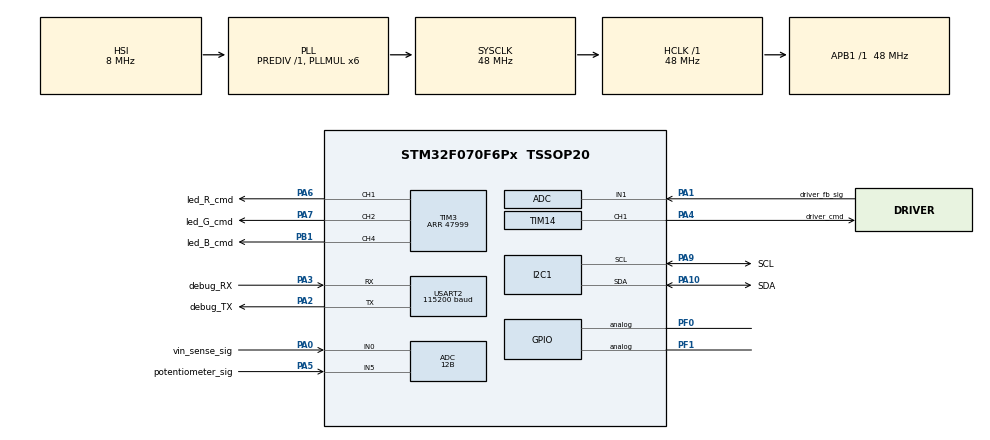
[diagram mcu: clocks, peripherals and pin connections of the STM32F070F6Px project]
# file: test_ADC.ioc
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ADC.ClockPrescaler=ADC_CLOCK_ASYNC_DIV1
ADC.ContinuousConvMode=DISABLE
ADC.DMAContinuousRequests=ENABLE
ADC.DataAlign=ADC_DATAALIGN_RIGHT
ADC.DiscontinuousConvMode=DISABLE
ADC.EOCSelection=ADC_EOC_SEQ_CONV
ADC.EnableAnalogWatchDog=false
ADC.ExternalTrigConv=ADC_EXTERNALTRIGCONV_T1_TRGO
ADC.ExternalTrigConvEdge=ADC_EXTERNALTRIGCONVEDGE_RISING
ADC.LowPowerAutoPowerOff=DISABLE
ADC.LowPowerAutoWait=DISABLE
ADC.Overrun=ADC_OVR_DATA_PRESERVED
ADC.Resolution=ADC_RESOLUTION_12B
ADC.SamplingTime=ADC_SAMPLETIME_7CYCLES_5
ADC.ScanConvMode=ADC_SCAN_DIRECTION_FORWARD
Dma.ADC.1.Direction=DMA_PERIPH_TO_MEMORY
Dma.ADC.1.Instance=DMA1_Channel1
Dma.ADC.1.MemDataAlignment=DMA_MDATAALIGN_HALFWORD
Dma.ADC.1.MemInc=DMA_MINC_ENABLE
Dma.ADC.1.Mode=DMA_NORMAL
Dma.ADC.1.PeriphDataAlignment=DMA_PDATAALIGN_HALFWORD
Dma.ADC.1.PeriphInc=DMA_PINC_DISABLE
Dma.ADC.1.Priority=DMA_PRIORITY_LOW
Dma.Request0=USART2_TX
Dma.Request1=ADC
Dma.USART2_TX.0.Direction=DMA_MEMORY_TO_PERIPH
Dma.USART2_TX.0.Instance=DMA1_Channel4
Dma.USART2_TX.0.MemDataAlignment=DMA_MDATAALIGN_BYTE
Dma.USART2_TX.0.MemInc=DMA_MINC_ENABLE
Dma.USART2_TX.0.Mode=DMA_NORMAL
Dma.USART2_TX.0.PeriphDataAlignment=DMA_PDATAALIGN_BYTE
Dma.USART2_TX.0.PeriphInc=DMA_PINC_DISABLE
Dma.USART2_TX.0.Priority=DMA_PRIORITY_LOW
I2C1.Timing=0x2000090E
Mcu.Family=STM32F0
Mcu.Name=STM32F070F6Px
Mcu.Package=TSSOP20
NVIC.DMA1_Channel1_IRQn=true\:0\:0\:false\:false\:true
NVIC.DMA1_Channel4_5_IRQn=true\:0\:0\:false\:false\:true
PA0.GPIO_Label=vin_sense_sig
PA0.Mode=IN0
PA0.Signal=ADC_IN0
PA1.GPIO_Label=driver_fb_sig
PA1.Mode=IN1
PA1.Signal=ADC_IN1
PA10.GPIO_Label=SDA
PA10.Mode=I2C
PA10.Signal=I2C1_SDA
PA13.Mode=Serial-WireDebug
PA13.Signal=SYS_SWDIO
PA14.Mode=Serial-WireDebug
PA14.Signal=SYS_SWCLK
PA2.GPIO_Label=debug_TX
PA2.GPIO_PuPd=GPIO_PULLUP
PA2.Mode=Asynchronous
PA2.Signal=USART2_TX
PA3.GPIO_Label=debug_RX
PA3.Mode=Asynchronous
PA3.Signal=USART2_RX
PA4.GPIO_Label=driver_cmd
PA4.Signal=S_TIM14_CH1
PA5.GPIO_Label=potentiometer_sig
PA5.Mode=IN5
PA5.Signal=ADC_IN5
PA6.GPIO_Label=led_R_cmd
PA6.GPIO_Speed=GPIO_SPEED_FREQ_LOW
PA6.Signal=S_TIM3_CH1
PA7.GPIO_Label=led_G_cmd
PA7.GPIO_Speed=GPIO_SPEED_FREQ_LOW
PA7.Signal=S_TIM3_CH2
PA9.GPIO_Label=SCL
PA9.Mode=I2C
PA9.Signal=I2C1_SCL
PB1.GPIO_Label=led_B_cmd
PB1.Signal=S_TIM3_CH4
PF0-OSC_IN.Signal=GPIO_Analog
PF1-OSC_OUT.Signal=GPIO_Analog
ProjectManager.HeapSize=0x200
ProjectManager.StackSize=0x400
ProjectManager.TargetToolchain=SW4STM32
RCC.AHBFreq_Value=48000000
RCC.APB1Freq_Value=48000000
RCC.APB1TimFreq_Value=48000000
RCC.HCLKFreq_Value=48000000
RCC.PLLMUL=RCC_PLL_MUL6
RCC.SYSCLKFreq_VALUE=48000000
RCC.SYSCLKSource=RCC_SYSCLKSOURCE_PLLCLK
SH.S_TIM14_CH1.0=TIM14_CH1,PWM Generation1 CH1
SH.S_TIM3_CH1.0=TIM3_CH1,PWM Generation1 CH1
SH.S_TIM3_CH2.0=TIM3_CH2,PWM Generation2 CH2
SH.S_TIM3_CH4.0=TIM3_CH4,PWM Generation4 CH4
TIM1.Period=4799
TIM1.TIM_MasterOutputTrigger=TIM_TRGO_UPDATE
TIM1.TIM_MasterSlaveMode=TIM_MASTERSLAVEMODE_ENABLE
TIM14.Period=47999
TIM14.Prescaler=9
TIM3.Channel-PWM\ Generation2\ CH2=TIM_CHANNEL_2
TIM3.Channel-PWM\ Generation4\ CH4=TIM_CHANNEL_4
TIM3.OCMode_PWM-PWM\ Generation1\ CH1=TIM_OCMODE_PWM2
TIM3.OCMode_PWM-PWM\ Generation2\ CH2=TIM_OCMODE_PWM2
TIM3.OCMode_PWM-PWM\ Generation4\ CH4=TIM_OCMODE_PWM2
TIM3.Period=47999
USART2.BaudRate=115200
USART2.WordLength=UART_WORDLENGTH_8B
VP_TIM14_VS_ClockSourceINT.Mode=Enable_Timer
VP_TIM1_VS_ClockSourceINT.Mode=Internal
board=test_ADC

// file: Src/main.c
/**
 ******************************************************************************
 * File Name          : main.c
 * Description        : Main program body
 ******************************************************************************
 *
 * COPYRIGHT(c) 2016 STMicroelectronics
 *
 * Redistribution and use in source and binary forms, with or without modification,
 * are permitted provided that the following conditions are met:
 *   1. Redistributions of source code must retain the above copyright notice,
 *      this list of conditions and the following disclaimer.
 *   2. Redistributions in binary form must reproduce the above copyright notice,
 *      this list of conditions and the following disclaimer in the documentation
 *      and/or other materials provided with the distribution.
 *   3. Neither the name of STMicroelectronics nor the names of its contributors
 *      may be used to endorse or promote products derived from this software
 *      without specific prior written permission.
 *
 * THIS SOFTWARE IS PROVIDED BY THE COPYRIGHT HOLDERS AND CONTRIBUTORS "AS IS"
 * AND ANY EXPRESS OR IMPLIED WARRANTIES, INCLUDING, BUT NOT LIMITED TO, THE
 * IMPLIED WARRANTIES OF MERCHANTABILITY AND FITNESS FOR A PARTICULAR PURPOSE ARE
 * DISCLAIMED. IN NO EVENT SHALL THE COPYRIGHT HOLDER OR CONTRIBUTORS BE LIABLE
 * FOR ANY DIRECT, INDIRECT, INCIDENTAL, SPECIAL, EXEMPLARY, OR CONSEQUENTIAL
 * DAMAGES (INCLUDING, BUT NOT LIMITED TO, PROCUREMENT OF SUBSTITUTE GOODS OR
 * SERVICES; LOSS OF USE, DATA, OR PROFITS; OR BUSINESS INTERRUPTION) HOWEVER
 * CAUSED AND ON ANY THEORY OF LIABILITY, WHETHER IN CONTRACT, STRICT LIABILITY,
 * OR TORT (INCLUDING NEGLIGENCE OR OTHERWISE) ARISING IN ANY WAY OUT OF THE USE
 * OF THIS SOFTWARE, EVEN IF ADVISED OF THE POSSIBILITY OF SUCH DAMAGE.
 *
 ******************************************************************************
 */
#include "stm32f0xx_hal.h"

/* USER CODE BEGIN Includes */
#include "stm32f070x6.h"
#include "debug.h"
#include "config.h"

/* USER CODE END Includes */

ADC_HandleTypeDef hadc;
DMA_HandleTypeDef hdma_adc;

I2C_HandleTypeDef hi2c1;

TIM_HandleTypeDef htim1;
TIM_HandleTypeDef htim3;
TIM_HandleTypeDef htim14;

UART_HandleTypeDef huart2;
DMA_HandleTypeDef hdma_usart2_tx;

/* USER CODE BEGIN PV */
/* Private variables ---------------------------------------------------------*/

/* USER CODE END PV */

void SystemClock_Config(void);
static void MX_GPIO_Init(void);
static void MX_DMA_Init(void);
static void MX_ADC_Init(void);
static void MX_I2C1_Init(void);
static void MX_TIM3_Init(void);
static void MX_TIM14_Init(void);
static void MX_USART2_UART_Init(void);
static void MX_TIM1_Init(void);

void HAL_TIM_MspPostInit(TIM_HandleTypeDef *htim);

/* USER CODE BEGIN PFP */
/* Private function prototypes -----------------------------------------------*/

/* USER CODE END PFP */

/* USER CODE BEGIN 0 */
#define ADC_COUNT 1500
uint16_t adcBuffer[ADC_COUNT];

/* USER CODE END 0 */

int main(void) {

	/* USER CODE BEGIN 1 */
	uint32_t i;
	GPIO_InitTypeDef GPIO_InitStruct;
	ADC_ChannelConfTypeDef sConfig;
	/* USER CODE END 1 */

	/* MCU Configuration----------------------------------------------------------*/

	/* Reset of all peripherals, Initializes the Flash interface and the Systick. */
	HAL_Init();

	/* Configure the system clock */
	SystemClock_Config();

	/* Initialize all configured peripherals */
	MX_GPIO_Init();
	MX_DMA_Init();
	MX_ADC_Init();
	MX_I2C1_Init();
	MX_TIM3_Init();
	MX_TIM14_Init();
	MX_USART2_UART_Init();
	MX_TIM1_Init();

	/* USER CODE BEGIN 2 */
	// Configure analog input. Stm32Cube forces use of RX pin if UART is used.
	GPIO_InitStruct.Pin = debug_RX_Pin;
	GPIO_InitStruct.Mode = GPIO_MODE_ANALOG;
	GPIO_InitStruct.Pull = GPIO_NOPULL;
	HAL_GPIO_Init(GPIOA, &GPIO_InitStruct);
	sConfig.Channel = ADC_CHANNEL_3;
	sConfig.Rank = ADC_RANK_CHANNEL_NUMBER;
	sConfig.SamplingTime = ADC_SAMPLETIME_7CYCLES_5;
	HAL_ADC_ConfigChannel(&hadc, &sConfig);

	HAL_TIM_Base_Start(&htim14);
	HAL_TIM_PWM_Start(&htim14, TIM_CHANNEL_1);
	htim14.Instance->CCR1 = 35000;
	HAL_TIM_Base_Start(&htim1);
	HAL_ADC_Start_DMA(&hadc, adcBuffer, ADC_COUNT);
	while (!(HAL_ADC_GetState(&hadc) & HAL_ADC_STATE_REG_EOC)) {
	}
	HAL_ADC_Stop_DMA(&hadc);
	htim14.Instance->CCR1 = 0;
	for (i = 0; i < ADC_COUNT; i++) {
		debugPrint("%u\r\n", adcBuffer[i]);
	}
	/* USER CODE END 2 */

	/* Infinite loop */
	while (1) {

	}

}

/** System Clock Configuration
 */
void SystemClock_Config(void) {

	RCC_OscInitTypeDef RCC_OscInitStruct;
	RCC_ClkInitTypeDef RCC_ClkInitStruct;
	RCC_PeriphCLKInitTypeDef PeriphClkInit;

	RCC_OscInitStruct.OscillatorType = RCC_OSCILLATORTYPE_HSI
			| RCC_OSCILLATORTYPE_HSI14;
	RCC_OscInitStruct.HSIState = RCC_HSI_ON;
	RCC_OscInitStruct.HSI14State = RCC_HSI14_ON;
	RCC_OscInitStruct.HSICalibrationValue = 16;
	RCC_OscInitStruct.HSI14CalibrationValue = 16;
	RCC_OscInitStruct.PLL.PLLState = RCC_PLL_ON;
	RCC_OscInitStruct.PLL.PLLSource = RCC_PLLSOURCE_HSI;
	RCC_OscInitStruct.PLL.PLLMUL = RCC_PLL_MUL6;
	RCC_OscInitStruct.PLL.PREDIV = RCC_PREDIV_DIV1;
	HAL_RCC_OscConfig(&RCC_OscInitStruct);

	RCC_ClkInitStruct.ClockType = RCC_CLOCKTYPE_HCLK | RCC_CLOCKTYPE_SYSCLK
			| RCC_CLOCKTYPE_PCLK1;
	RCC_ClkInitStruct.SYSCLKSource = RCC_SYSCLKSOURCE_PLLCLK;
	RCC_ClkInitStruct.AHBCLKDivider = RCC_SYSCLK_DIV1;
	RCC_ClkInitStruct.APB1CLKDivider = RCC_HCLK_DIV1;
	HAL_RCC_ClockConfig(&RCC_ClkInitStruct, FLASH_LATENCY_1);

	PeriphClkInit.PeriphClockSelection = RCC_PERIPHCLK_I2C1;
	PeriphClkInit.I2c1ClockSelection = RCC_I2C1CLKSOURCE_HSI;
	HAL_RCCEx_PeriphCLKConfig(&PeriphClkInit);

	HAL_SYSTICK_Config(HAL_RCC_GetHCLKFreq() / 1000);

	HAL_SYSTICK_CLKSourceConfig(SYSTICK_CLKSOURCE_HCLK);

	/* SysTick_IRQn interrupt configuration */
	HAL_NVIC_SetPriority(SysTick_IRQn, 0, 0);
}

/* ADC init function */
void MX_ADC_Init(void) {

	ADC_ChannelConfTypeDef sConfig;

	/**Configure the global features of the ADC (Clock, Resolution, Data Alignment and number of conversion)
	 */
	hadc.Instance = ADC1;
	hadc.Init.ClockPrescaler = ADC_CLOCK_ASYNC_DIV1;
	hadc.Init.Resolution = ADC_RESOLUTION_12B;
	hadc.Init.DataAlign = ADC_DATAALIGN_RIGHT;
	hadc.Init.ScanConvMode = ADC_SCAN_DIRECTION_FORWARD;
	hadc.Init.EOCSelection = ADC_EOC_SEQ_CONV;
	hadc.Init.LowPowerAutoWait = DISABLE;
	hadc.Init.LowPowerAutoPowerOff = DISABLE;
	hadc.Init.ContinuousConvMode = DISABLE;
	hadc.Init.DiscontinuousConvMode = DISABLE;
	hadc.Init.ExternalTrigConv = ADC_EXTERNALTRIGCONV_T1_TRGO;
	hadc.Init.ExternalTrigConvEdge = ADC_EXTERNALTRIGCONVEDGE_RISING;
	hadc.Init.DMAContinuousRequests = ENABLE;
	hadc.Init.Overrun = ADC_OVR_DATA_PRESERVED;
	HAL_ADC_Init(&hadc);

	/**Configure for the selected ADC regular channel to be converted.
	 */
	sConfig.Channel = ADC_CHANNEL_0;
	sConfig.Rank = ADC_RANK_CHANNEL_NUMBER;
	sConfig.SamplingTime = ADC_SAMPLETIME_7CYCLES_5;
	HAL_ADC_ConfigChannel(&hadc, &sConfig);

	/**Configure for the selected ADC regular channel to be converted.
	 */
	sConfig.Channel = ADC_CHANNEL_1;
	HAL_ADC_ConfigChannel(&hadc, &sConfig);

	/**Configure for the selected ADC regular channel to be converted.
	 */
	sConfig.Channel = ADC_CHANNEL_5;
	HAL_ADC_ConfigChannel(&hadc, &sConfig);

}

/* I2C1 init function */
void MX_I2C1_Init(void) {

	hi2c1.Instance = I2C1;
	hi2c1.Init.Timing = 0x2000090E;
	hi2c1.Init.OwnAddress1 = 0;
	hi2c1.Init.AddressingMode = I2C_ADDRESSINGMODE_7BIT;
	hi2c1.Init.DualAddressMode = I2C_DUALADDRESS_DISABLE;
	hi2c1.Init.OwnAddress2 = 0;
	hi2c1.Init.OwnAddress2Masks = I2C_OA2_NOMASK;
	hi2c1.Init.GeneralCallMode = I2C_GENERALCALL_DISABLE;
	hi2c1.Init.NoStretchMode = I2C_NOSTRETCH_DISABLE;
	HAL_I2C_Init(&hi2c1);

	/**Configure Analogue filter
	 */
	HAL_I2CEx_ConfigAnalogFilter(&hi2c1, I2C_ANALOGFILTER_ENABLE);

}

/* TIM1 init function */
void MX_TIM1_Init(void) {

	TIM_ClockConfigTypeDef sClockSourceConfig;
	TIM_MasterConfigTypeDef sMasterConfig;

	htim1.Instance = TIM1;
	htim1.Init.Prescaler = 0;
	htim1.Init.CounterMode = TIM_COUNTERMODE_UP;
	htim1.Init.Period = 4799;
	htim1.Init.ClockDivision = TIM_CLOCKDIVISION_DIV1;
	htim1.Init.RepetitionCounter = 0;
	HAL_TIM_Base_Init(&htim1);

	sClockSourceConfig.ClockSource = TIM_CLOCKSOURCE_INTERNAL;
	HAL_TIM_ConfigClockSource(&htim1, &sClockSourceConfig);

	sMasterConfig.MasterOutputTrigger = TIM_TRGO_UPDATE;
	sMasterConfig.MasterSlaveMode = TIM_MASTERSLAVEMODE_ENABLE;
	HAL_TIMEx_MasterConfigSynchronization(&htim1, &sMasterConfig);

}

/* TIM3 init function */
void MX_TIM3_Init(void) {

	TIM_MasterConfigTypeDef sMasterConfig;
	TIM_OC_InitTypeDef sConfigOC;

	htim3.Instance = TIM3;
	htim3.Init.Prescaler = 0;
	htim3.Init.CounterMode = TIM_COUNTERMODE_UP;
	htim3.Init.Period = 47999;
	htim3.Init.ClockDivision = TIM_CLOCKDIVISION_DIV1;
	HAL_TIM_PWM_Init(&htim3);

	sMasterConfig.MasterOutputTrigger = TIM_TRGO_RESET;
	sMasterConfig.MasterSlaveMode = TIM_MASTERSLAVEMODE_DISABLE;
	HAL_TIMEx_MasterConfigSynchronization(&htim3, &sMasterConfig);

	sConfigOC.OCMode = TIM_OCMODE_PWM2;
	sConfigOC.Pulse = 0;
	sConfigOC.OCPolarity = TIM_OCPOLARITY_HIGH;
	sConfigOC.OCFastMode = TIM_OCFAST_DISABLE;
	HAL_TIM_PWM_ConfigChannel(&htim3, &sConfigOC, TIM_CHANNEL_1);

	HAL_TIM_PWM_ConfigChannel(&htim3, &sConfigOC, TIM_CHANNEL_2);

	HAL_TIM_PWM_ConfigChannel(&htim3, &sConfigOC, TIM_CHANNEL_4);

	HAL_TIM_MspPostInit(&htim3);

}

/* TIM14 init function */
void MX_TIM14_Init(void) {

	TIM_OC_InitTypeDef sConfigOC;

	htim14.Instance = TIM14;
	htim14.Init.Prescaler = 9;
	htim14.Init.CounterMode = TIM_COUNTERMODE_UP;
	htim14.Init.Period = 47999;
	htim14.Init.ClockDivision = TIM_CLOCKDIVISION_DIV1;
	HAL_TIM_Base_Init(&htim14);

	HAL_TIM_PWM_Init(&htim14);

	sConfigOC.OCMode = TIM_OCMODE_PWM1;
	sConfigOC.Pulse = 0;
	sConfigOC.OCPolarity = TIM_OCPOLARITY_HIGH;
	sConfigOC.OCFastMode = TIM_OCFAST_DISABLE;
	HAL_TIM_PWM_ConfigChannel(&htim14, &sConfigOC, TIM_CHANNEL_1);

	HAL_TIM_MspPostInit(&htim14);

}

/* USART2 init function */
void MX_USART2_UART_Init(void) {

	huart2.Instance = USART2;
	huart2.Init.BaudRate = 115200;
	huart2.Init.WordLength = UART_WORDLENGTH_8B;
	huart2.Init.StopBits = UART_STOPBITS_1;
	huart2.Init.Parity = UART_PARITY_NONE;
	huart2.Init.Mode = UART_MODE_TX_RX;
	huart2.Init.HwFlowCtl = UART_HWCONTROL_NONE;
	huart2.Init.OverSampling = UART_OVERSAMPLING_16;
	huart2.Init.OneBitSampling = UART_ONE_BIT_SAMPLE_DISABLE;
	huart2.AdvancedInit.AdvFeatureInit = UART_ADVFEATURE_NO_INIT;
	HAL_UART_Init(&huart2);

}

void MX_DMA_Init(void) {
	/* DMA controller clock enable */
	__HAL_RCC_DMA1_CLK_ENABLE()
	;

	/* DMA interrupt init */
	/* DMA1_Channel1_IRQn interrupt configuration */
	HAL_NVIC_SetPriority(DMA1_Channel1_IRQn, 0, 0);
	HAL_NVIC_EnableIRQ(DMA1_Channel1_IRQn);
	/* DMA1_Channel4_5_IRQn interrupt configuration */
	HAL_NVIC_SetPriority(DMA1_Channel4_5_IRQn, 0, 0);
	HAL_NVIC_EnableIRQ(DMA1_Channel4_5_IRQn);

}

/** Configure pins as
 * Analog
 * Input
 * Output
 * EVENT_OUT
 * EXTI
 * Free pins are configured automatically as Analog (this feature is enabled through
 * the Code Generation settings)
 */
void MX_GPIO_Init(void) {

	GPIO_InitTypeDef GPIO_InitStruct;

	/* GPIO Ports Clock Enable */
	__HAL_RCC_GPIOF_CLK_ENABLE()
	;
	__HAL_RCC_GPIOA_CLK_ENABLE()
	;
	__HAL_RCC_GPIOB_CLK_ENABLE()
	;

	/*Configure GPIO pins : PF0 PF1 */
	GPIO_InitStruct.Pin = GPIO_PIN_0 | GPIO_PIN_1;
	GPIO_InitStruct.Mode = GPIO_MODE_ANALOG;
	GPIO_InitStruct.Pull = GPIO_NOPULL;
	HAL_GPIO_Init(GPIOF, &GPIO_InitStruct);

}

/************************ (C) COPYRIGHT STMicroelectronics *****END OF FILE****/
